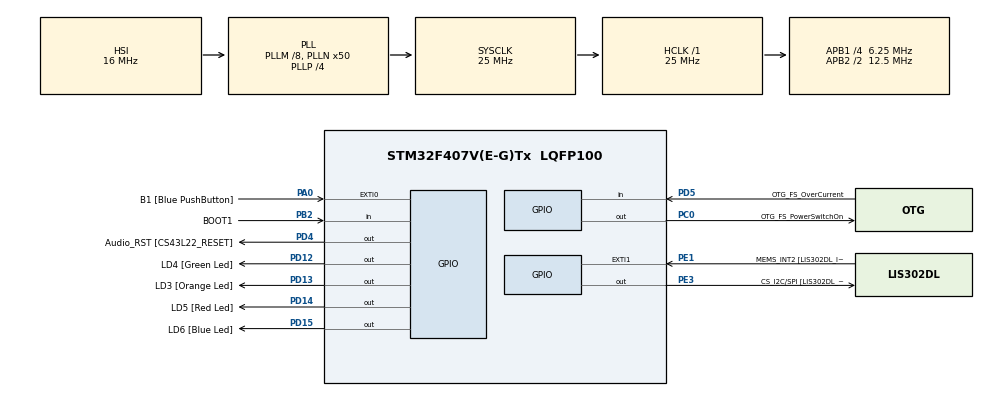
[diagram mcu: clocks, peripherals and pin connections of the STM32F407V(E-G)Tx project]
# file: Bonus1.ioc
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FREERTOS.BinarySemaphores01=semTaskA,Dynamic,NULL,Depleted;semTaskB,Dynamic,NULL,Depleted;semTaskC,Dynamic,NULL,Depleted;semTaskD,Dynamic,NULL,Depleted
FREERTOS.USE_IDLE_HOOK=1
FREERTOS.Tasks01=TaskA,32,128,StartTaskA,Default,NULL,Dynamic,NULL,NULL;TaskB,24,128,StartTaskB,Default,NULL,Dynamic,NULL,NULL;TaskC,16,128,StartTaskC,Default,NULL,Dynamic,NULL,NULL;TaskD,8,128,StartTaskD,Default,NULL,Dynamic,NULL,NULL;SchedTask,40,128,StartSchedTask,Default,NULL,Dynamic,NULL,NULL;startDefaultTas,8,128,startDefaultTask,Default,NULL,Dynamic,NULL,NULL
Mcu.Family=STM32F4
Mcu.Name=STM32F407V(E-G)Tx
Mcu.Package=LQFP100
NVIC.PriorityGroup=NVIC_PRIORITYGROUP_4
NVIC.TIM7_IRQn=true\:5\:0\:false\:false\:true\:true\:true\:true\:true
PA0-WKUP.GPIO_Label=B1 [Blue PushButton]
PA0-WKUP.Signal=GPXTI0
PA10.GPIO_Label=OTG_FS_ID
PA10.GPIO_Mode=GPIO_MODE_AF_PP
PA10.GPIO_PuPd=GPIO_NOPULL
PA10.GPIO_Speed=GPIO_SPEED_FREQ_LOW
PA10.Signal=USB_OTG_FS_ID
PA11.GPIO_Label=OTG_FS_DM
PA11.GPIO_Mode=GPIO_MODE_AF_PP
PA11.GPIO_PuPd=GPIO_NOPULL
PA11.GPIO_Speed=GPIO_SPEED_FREQ_LOW
PA11.Signal=USB_OTG_FS_DM
PA12.GPIO_Label=OTG_FS_DP
PA12.GPIO_Mode=GPIO_MODE_AF_PP
PA12.GPIO_PuPd=GPIO_NOPULL
PA12.GPIO_Speed=GPIO_SPEED_FREQ_LOW
PA12.Signal=USB_OTG_FS_DP
PA13.GPIO_Label=SWDIO
PA13.Signal=SYS_JTMS-SWDIO
PA14.GPIO_Label=SWCLK
PA14.Signal=SYS_JTCK-SWCLK
PA4.GPIO_Label=I2S3_WS [CS43L22_LRCK]
PA4.GPIO_Mode=GPIO_MODE_AF_PP
PA4.GPIO_PuPd=GPIO_NOPULL
PA4.GPIO_Speed=GPIO_SPEED_FREQ_LOW
PA4.Signal=I2S3_WS
PA5.GPIO_Label=SPI1_SCK [LIS302DL_SCL/SPC]
PA5.GPIO_Mode=GPIO_MODE_AF_PP
PA5.GPIO_PuPd=GPIO_NOPULL
PA5.GPIO_Speed=GPIO_SPEED_FREQ_LOW
PA5.Signal=SPI1_SCK
PA6.GPIO_Label=SPI1_MISO [LIS302DL_SDO]
PA6.GPIO_Mode=GPIO_MODE_AF_PP
PA6.GPIO_PuPd=GPIO_NOPULL
PA6.GPIO_Speed=GPIO_SPEED_FREQ_LOW
PA6.Signal=SPI1_MISO
PA7.GPIO_Label=SPI1_MOSI [LIS302DL_SDA/SDI/SDO]
PA7.GPIO_Mode=GPIO_MODE_AF_PP
PA7.GPIO_PuPd=GPIO_NOPULL
PA7.GPIO_Speed=GPIO_SPEED_FREQ_LOW
PA7.Signal=SPI1_MOSI
PA9.GPIO_Label=VBUS_FS
PA9.GPIO_Mode=GPIO_MODE_INPUT
PA9.GPIO_PuPd=GPIO_NOPULL
PA9.Signal=USB_OTG_FS_VBUS
PB10.GPIO_Label=CLK_IN [MP45DT02_CLK]
PB10.GPIO_Mode=GPIO_MODE_AF_PP
PB10.GPIO_PuPd=GPIO_NOPULL
PB10.GPIO_Speed=GPIO_SPEED_FREQ_LOW
PB10.Signal=I2S2_CK
PB2.GPIO_Label=BOOT1
PB2.GPIO_Mode=GPIO_MODE_INPUT
PB2.GPIO_PuPd=GPIO_NOPULL
PB2.Signal=GPIO_Input
PB3.GPIO_Label=SWO
PB3.Signal=SYS_JTDO-SWO
PB6.GPIO_Label=Audio_SCL [CS43L22_SCL]
PB6.GPIO_Mode=GPIO_MODE_AF_OD
PB6.GPIO_PuPd=GPIO_NOPULL
PB6.GPIO_Speed=GPIO_SPEED_FREQ_LOW
PB6.Signal=I2C1_SCL
PB9.GPIO_Label=Audio_SDA [CS43L22_SDA]
PB9.GPIO_Mode=GPIO_MODE_AF_OD
PB9.GPIO_PuPd=GPIO_NOPULL
PB9.GPIO_Speed=GPIO_SPEED_FREQ_LOW
PB9.Signal=I2C1_SDA
PC0.GPIO_Label=OTG_FS_PowerSwitchOn
PC0.GPIO_PuPd=GPIO_NOPULL
PC0.GPIO_Speed=GPIO_SPEED_FREQ_LOW
PC0.PinState=GPIO_PIN_SET
PC0.Signal=GPIO_Output
PC10.GPIO_Label=I2S3_SCK [CS43L22_SCLK]
PC10.GPIO_Mode=GPIO_MODE_AF_PP
PC10.GPIO_PuPd=GPIO_NOPULL
PC10.GPIO_Speed=GPIO_SPEED_FREQ_LOW
PC10.Signal=I2S3_CK
PC12.GPIO_Label=I2S3_SD [CS43L22_SDIN]
PC12.GPIO_Mode=GPIO_MODE_AF_PP
PC12.GPIO_PuPd=GPIO_NOPULL
PC12.GPIO_Speed=GPIO_SPEED_FREQ_LOW
PC12.Signal=I2S3_SD
PC14-OSC32_IN.GPIO_Label=PC14-OSC32_IN
PC14-OSC32_IN.Signal=RCC_OSC32_IN
PC15-OSC32_OUT.GPIO_Label=PC15-OSC32_OUT
PC15-OSC32_OUT.Signal=RCC_OSC32_OUT
PC3.GPIO_Label=PDM_OUT [MP45DT02_DOUT]
PC3.GPIO_Mode=GPIO_MODE_AF_PP
PC3.GPIO_PuPd=GPIO_NOPULL
PC3.GPIO_Speed=GPIO_SPEED_FREQ_LOW
PC3.Signal=I2S2_SD
PC7.GPIO_Label=I2S3_MCK [CS43L22_MCLK]
PC7.GPIO_Mode=GPIO_MODE_AF_PP
PC7.GPIO_PuPd=GPIO_NOPULL
PC7.GPIO_Speed=GPIO_SPEED_FREQ_LOW
PC7.Signal=I2S3_MCK
PD12.GPIO_Label=LD4 [Green Led]
PD12.GPIO_PuPd=GPIO_NOPULL
PD12.GPIO_Speed=GPIO_SPEED_FREQ_LOW
PD12.Signal=GPIO_Output
PD13.GPIO_Label=LD3 [Orange Led]
PD13.GPIO_PuPd=GPIO_NOPULL
PD13.GPIO_Speed=GPIO_SPEED_FREQ_LOW
PD13.Signal=GPIO_Output
PD14.GPIO_Label=LD5 [Red Led]
PD14.GPIO_PuPd=GPIO_NOPULL
PD14.GPIO_Speed=GPIO_SPEED_FREQ_LOW
PD14.Signal=GPIO_Output
PD15.GPIO_Label=LD6 [Blue Led]
PD15.GPIO_PuPd=GPIO_NOPULL
PD15.GPIO_Speed=GPIO_SPEED_FREQ_LOW
PD15.Signal=GPIO_Output
PD4.GPIO_Label=Audio_RST [CS43L22_RESET]
PD4.GPIO_PuPd=GPIO_NOPULL
PD4.GPIO_Speed=GPIO_SPEED_FREQ_LOW
PD4.Signal=GPIO_Output
PD5.GPIO_Label=OTG_FS_OverCurrent
PD5.GPIO_Mode=GPIO_MODE_INPUT
PD5.GPIO_PuPd=GPIO_NOPULL
PD5.Signal=GPIO_Input
PE1.GPIO_Label=MEMS_INT2 [LIS302DL_INT2]
PE1.GPIO_ModeDefaultEXTI=GPIO_MODE_EVT_RISING
PE1.GPIO_PuPd=GPIO_NOPULL
PE1.Signal=GPXTI1
PE3.GPIO_Label=CS_I2C/SPI [LIS302DL_CS_I2C/SPI]
PE3.GPIO_PuPd=GPIO_NOPULL
PE3.GPIO_Speed=GPIO_SPEED_FREQ_LOW
PE3.Signal=GPIO_Output
PH0-OSC_IN.GPIO_Label=PH0-OSC_IN
PH0-OSC_IN.Signal=RCC_OSC_IN
PH1-OSC_OUT.GPIO_Label=PH1-OSC_OUT
PH1-OSC_OUT.Signal=RCC_OSC_OUT
ProjectManager.HeapSize=0x200
ProjectManager.StackSize=0x400
ProjectManager.TargetToolchain=STM32CubeIDE
RCC.48MHZClocksFreq_Value=14285714.285714285
RCC.AHBFreq_Value=25000000
RCC.APB1CLKDivider=RCC_HCLK_DIV4
RCC.APB1Freq_Value=6250000
RCC.APB1TimFreq_Value=12500000
RCC.APB2CLKDivider=RCC_HCLK_DIV2
RCC.APB2Freq_Value=12500000
RCC.APB2TimFreq_Value=25000000
RCC.CortexFreq_Value=25000000
RCC.HCLKFreq_Value=25000000
RCC.HSE_VALUE=8000000
RCC.HSI_VALUE=16000000
RCC.LSE_VALUE=32768
RCC.PLLM=8
RCC.PLLN=50
RCC.PLLP=RCC_PLLP_DIV4
RCC.PLLQ=7
RCC.SYSCLKFreq_VALUE=25000000
RCC.SYSCLKSource=RCC_SYSCLKSOURCE_PLLCLK
RCC.VCOOutputFreq_Value=100000000
TIM7.Period=99
TIM7.Prescaler=124
VP_FREERTOS_VS_CMSIS_V2.Mode=CMSIS_V2
VP_TIM7_VS_ClockSourceINT.Mode=Enable_Timer
board=STM32F407G-DISC1

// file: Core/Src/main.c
/* USER CODE BEGIN Header */
/**
  ******************************************************************************
  * @file           : main.c
  * @brief          : Main program body
  ******************************************************************************
  * @attention
  *
  * Copyright (c) 2026 STMicroelectronics.
  * All rights reserved.
  *
  * This software is licensed under terms that can be found in the LICENSE file
  * in the root directory of this software component.
  * If no LICENSE file comes with this software, it is provided AS-IS.
  *
  ******************************************************************************
  */
/* USER CODE END Header */
#include "main.h"
#include "cmsis_os.h"

/* USER CODE BEGIN PTD */
typedef struct
{
  osThreadId_t handle;
  osSemaphoreId_t sem;
  uint32_t periodMs;
  uint32_t relativeDeadlineUs;
  uint32_t execTimeUs;
  uint16_t ledPin;

  volatile uint32_t releaseQueue[4];
  volatile uint32_t deadlineQueue[4];
  volatile uint8_t head;
  volatile uint8_t tail;
  volatile uint8_t jobs;
  volatile uint8_t active;

  volatile uint32_t activeReleaseCycle;
  volatile uint32_t activeDeadlineUs;
  volatile uint32_t nextReleaseMs;
  volatile uint32_t queueOverflows;
  osPriority_t currentPriority;

  volatile uint32_t *deadlineMiss;
  volatile uint32_t *responseUs;
  volatile uint32_t *responseMaxUs;
} EdfTask;

/* USER CODE END PTD */

/* USER CODE BEGIN PD */
#define TaskA_PERIOD_MS      3U
#define TaskA_DEADLINE_MS    3U
#define TaskA_EXEC_TIME_US   1000U

#define TaskB_PERIOD_MS      5U
#define TaskB_DEADLINE_MS    4U
#define TaskB_EXEC_TIME_US   2000U

#define TaskC_PERIOD_MS      8U
#define TaskC_DEADLINE_MS    8U
#define TaskC_EXEC_TIME_US   1000U

#define TaskD_PERIOD_MS      14U
#define TaskD_DEADLINE_MS    14U
#define TaskD_EXEC_TIME_US   1000U

#define CPU_LOAD_WINDOW_US   470000U
#define CPU_LOAD_STEP_US     100U

#define EDF_TASK_COUNT       4U
#define EDF_QUEUE_LEN        4U
#define EDF_TASK_A           0U
#define EDF_TASK_B           1U
#define EDF_TASK_C           2U
#define EDF_TASK_D           3U

/* USER CODE END PD */

TIM_HandleTypeDef htim7;

/* Definitions for TaskA */
osThreadId_t TaskAHandle;
const osThreadAttr_t TaskA_attributes = {
  .name = "TaskA",
  .stack_size = 128 * 4,
  .priority = (osPriority_t) osPriorityAboveNormal,
};
/* Definitions for TaskB */
osThreadId_t TaskBHandle;
const osThreadAttr_t TaskB_attributes = {
  .name = "TaskB",
  .stack_size = 128 * 4,
  .priority = (osPriority_t) osPriorityNormal,
};
/* Definitions for TaskC */
osThreadId_t TaskCHandle;
const osThreadAttr_t TaskC_attributes = {
  .name = "TaskC",
  .stack_size = 128 * 4,
  .priority = (osPriority_t) osPriorityBelowNormal,
};
/* Definitions for TaskD */
osThreadId_t TaskDHandle;
const osThreadAttr_t TaskD_attributes = {
  .name = "TaskD",
  .stack_size = 128 * 4,
  .priority = (osPriority_t) osPriorityLow,
};
/* Definitions for SchedTask */
osThreadId_t SchedTaskHandle;
const osThreadAttr_t SchedTask_attributes = {
  .name = "SchedTask",
  .stack_size = 128 * 4,
  .priority = (osPriority_t) osPriorityHigh,
};
/* Definitions for startDefaultTas */
osThreadId_t startDefaultTasHandle;
const osThreadAttr_t startDefaultTas_attributes = {
  .name = "startDefaultTas",
  .stack_size = 128 * 4,
  .priority = (osPriority_t) osPriorityLow,
};
/* Definitions for semTaskA */
osSemaphoreId_t semTaskAHandle;
const osSemaphoreAttr_t semTaskA_attributes = {
  .name = "semTaskA"
};
/* Definitions for semTaskB */
osSemaphoreId_t semTaskBHandle;
const osSemaphoreAttr_t semTaskB_attributes = {
  .name = "semTaskB"
};
/* Definitions for semTaskC */
osSemaphoreId_t semTaskCHandle;
const osSemaphoreAttr_t semTaskC_attributes = {
  .name = "semTaskC"
};
/* Definitions for semTaskD */
osSemaphoreId_t semTaskDHandle;
const osSemaphoreAttr_t semTaskD_attributes = {
  .name = "semTaskD"
};

void SystemClock_Config(void);
static void MX_GPIO_Init(void);
static void MX_TIM7_Init(void);
void StartTaskA(void *argument);
void StartTaskB(void *argument);
void StartTaskC(void *argument);
void StartTaskD(void *argument);
void StartSchedTask(void *argument);
void startDefaultTask(void *argument);

/* USER CODE BEGIN PFP */
static void DWT_Init(void);
void busy_delay(uint32_t us);
static uint32_t CyclesToUs(uint32_t cycles);
static uint8_t DeadlineMissed(uint32_t releaseCycle, uint32_t deadlineUs, volatile uint32_t *lastUs, volatile uint32_t *maxUs);
static void EdfInit(void);
static void EdfSetTask(uint32_t id, osThreadId_t handle, osSemaphoreId_t sem, uint32_t periodMs, uint32_t deadlineMs, uint32_t execTimeUs, uint16_t ledPin, volatile uint32_t *deadlineMiss, volatile uint32_t *responseUs, volatile uint32_t *responseMaxUs);
static void EdfActivate(uint32_t id, uint32_t nowMs);
static uint8_t EdfPopJob(uint32_t id);
static uint8_t EdfTaskReady(uint32_t id);
static uint32_t EdfTaskDeadline(uint32_t id);
static void EdfSetPriority(uint32_t id, osPriority_t priority);
static void EdfUpdatePriorities(void);
static void EdfWaitForJob(uint32_t id);
static void EdfFinishJob(uint32_t id);
static void EdfRunJob(uint32_t id);
static void ActivateTaskA(void);
static void ActivateTaskB(void);
static void ActivateTaskC(void);
static void ActivateTaskD(void);
static void CheckAndActivateTasks_1MS(void);

/* USER CODE END PFP */

/* USER CODE BEGIN 0 */
volatile uint32_t deadlineMissA = 0;
volatile uint32_t deadlineMissB = 0;
volatile uint32_t deadlineMissC = 0;
volatile uint32_t deadlineMissD = 0;

volatile uint32_t responseTaskAUs = 0;
volatile uint32_t responseTaskBUs = 0;
volatile uint32_t responseTaskCUs = 0;
volatile uint32_t responseTaskDUs = 0;
volatile uint32_t responseTaskAMaxUs = 0;
volatile uint32_t responseTaskBMaxUs = 0;
volatile uint32_t responseTaskCMaxUs = 0;
volatile uint32_t responseTaskDMaxUs = 0;

volatile uint32_t cpuLoadPermille = 0;
volatile uint32_t cpuIdlePermille = 0;
volatile uint32_t cpuLoadMeasureUs = 0;
volatile uint32_t cpuLoadIdleUs = 0;

static volatile uint32_t releaseTaskA = 0;
static volatile uint32_t releaseTaskB = 0;
static volatile uint32_t releaseTaskC = 0;
static volatile uint32_t releaseTaskD = 0;

static EdfTask edfTasks[EDF_TASK_COUNT];
volatile uint32_t edfReadyMask = 0;
volatile uint32_t edfCurrentOrder[EDF_TASK_COUNT] = {0};
/* USER CODE END 0 */

int main(void)
{

  /* MCU Configuration--------------------------------------------------------*/

  /* Reset of all peripherals, Initializes the Flash interface and the Systick. */
  HAL_Init();

  /* Configure the system clock */
  SystemClock_Config();

  /* Initialize all configured peripherals */
  MX_GPIO_Init();
  MX_TIM7_Init();
  /* USER CODE BEGIN 2 */
  DWT_Init();

  /* USER CODE END 2 */

  /* Init scheduler */
  osKernelInitialize();

  /* Create the semaphores(s) */
  /* creation of semTaskA */
  semTaskAHandle = osSemaphoreNew(1, 0, &semTaskA_attributes);

  /* creation of semTaskB */
  semTaskBHandle = osSemaphoreNew(1, 0, &semTaskB_attributes);

  /* creation of semTaskC */
  semTaskCHandle = osSemaphoreNew(1, 0, &semTaskC_attributes);

  /* creation of semTaskD */
  semTaskDHandle = osSemaphoreNew(1, 0, &semTaskD_attributes);

  /* Create the thread(s) */
  /* creation of TaskA */
  TaskAHandle = osThreadNew(StartTaskA, NULL, &TaskA_attributes);

  /* creation of TaskB */
  TaskBHandle = osThreadNew(StartTaskB, NULL, &TaskB_attributes);

  /* creation of TaskC */
  TaskCHandle = osThreadNew(StartTaskC, NULL, &TaskC_attributes);

  /* creation of TaskD */
  TaskDHandle = osThreadNew(StartTaskD, NULL, &TaskD_attributes);

  /* creation of SchedTask */
  SchedTaskHandle = osThreadNew(StartSchedTask, NULL, &SchedTask_attributes);

  /* creation of startDefaultTas */
  startDefaultTasHandle = osThreadNew(startDefaultTask, NULL, &startDefaultTas_attributes);

  /* USER CODE BEGIN RTOS_THREADS */
  /* add threads, ... */
  EdfInit();
  /* USER CODE END RTOS_THREADS */

  /* Start scheduler */
  osKernelStart();

  /* We should never get here as control is now taken by the scheduler */

  /* Infinite loop */
  while (1)
  {

  }
}

void SystemClock_Config(void)
{
  RCC_OscInitTypeDef RCC_OscInitStruct = {0};
  RCC_ClkInitTypeDef RCC_ClkInitStruct = {0};

  /** Configure the main internal regulator output voltage
  */
  __HAL_RCC_PWR_CLK_ENABLE();
  __HAL_PWR_VOLTAGESCALING_CONFIG(PWR_REGULATOR_VOLTAGE_SCALE1);

  /** Initializes the RCC Oscillators according to the specified parameters
  * in the RCC_OscInitTypeDef structure.
  */
  RCC_OscInitStruct.OscillatorType = RCC_OSCILLATORTYPE_HSI;
  RCC_OscInitStruct.HSIState = RCC_HSI_ON;
  RCC_OscInitStruct.HSICalibrationValue = RCC_HSICALIBRATION_DEFAULT;
  RCC_OscInitStruct.PLL.PLLState = RCC_PLL_ON;
  RCC_OscInitStruct.PLL.PLLSource = RCC_PLLSOURCE_HSI;
  RCC_OscInitStruct.PLL.PLLM = 8;
  RCC_OscInitStruct.PLL.PLLN = 50;
  RCC_OscInitStruct.PLL.PLLP = RCC_PLLP_DIV4;
  RCC_OscInitStruct.PLL.PLLQ = 7;
  if (HAL_RCC_OscConfig(&RCC_OscInitStruct) != HAL_OK)
  {
    Error_Handler();
  }

  /** Initializes the CPU, AHB and APB buses clocks
  */
  RCC_ClkInitStruct.ClockType = RCC_CLOCKTYPE_HCLK|RCC_CLOCKTYPE_SYSCLK
                              |RCC_CLOCKTYPE_PCLK1|RCC_CLOCKTYPE_PCLK2;
  RCC_ClkInitStruct.SYSCLKSource = RCC_SYSCLKSOURCE_PLLCLK;
  RCC_ClkInitStruct.AHBCLKDivider = RCC_SYSCLK_DIV1;
  RCC_ClkInitStruct.APB1CLKDivider = RCC_HCLK_DIV4;
  RCC_ClkInitStruct.APB2CLKDivider = RCC_HCLK_DIV2;

  if (HAL_RCC_ClockConfig(&RCC_ClkInitStruct, FLASH_LATENCY_0) != HAL_OK)
  {
    Error_Handler();
  }
}

static void MX_TIM7_Init(void)
{

  TIM_MasterConfigTypeDef sMasterConfig = {0};

  htim7.Instance = TIM7;
  htim7.Init.Prescaler = 124;
  htim7.Init.CounterMode = TIM_COUNTERMODE_UP;
  htim7.Init.Period = 99;
  htim7.Init.AutoReloadPreload = TIM_AUTORELOAD_PRELOAD_DISABLE;
  if (HAL_TIM_Base_Init(&htim7) != HAL_OK)
  {
    Error_Handler();
  }
  sMasterConfig.MasterOutputTrigger = TIM_TRGO_RESET;
  sMasterConfig.MasterSlaveMode = TIM_MASTERSLAVEMODE_DISABLE;
  if (HAL_TIMEx_MasterConfigSynchronization(&htim7, &sMasterConfig) != HAL_OK)
  {
    Error_Handler();
  }

}

static void MX_GPIO_Init(void)
{
  GPIO_InitTypeDef GPIO_InitStruct = {0};

  /* GPIO Ports Clock Enable */
  __HAL_RCC_GPIOE_CLK_ENABLE();
  __HAL_RCC_GPIOC_CLK_ENABLE();
  __HAL_RCC_GPIOH_CLK_ENABLE();
  __HAL_RCC_GPIOA_CLK_ENABLE();
  __HAL_RCC_GPIOB_CLK_ENABLE();
  __HAL_RCC_GPIOD_CLK_ENABLE();

  /*Configure GPIO pin Output Level */
  HAL_GPIO_WritePin(CS_I2C_SPI_GPIO_Port, CS_I2C_SPI_Pin, GPIO_PIN_RESET);

  /*Configure GPIO pin Output Level */
  HAL_GPIO_WritePin(OTG_FS_PowerSwitchOn_GPIO_Port, OTG_FS_PowerSwitchOn_Pin, GPIO_PIN_SET);

  /*Configure GPIO pin Output Level */
  HAL_GPIO_WritePin(GPIOD, LD4_Pin|LD3_Pin|LD5_Pin|LD6_Pin
                          |Audio_RST_Pin, GPIO_PIN_RESET);

  /*Configure GPIO pin : CS_I2C_SPI_Pin */
  GPIO_InitStruct.Pin = CS_I2C_SPI_Pin;
  GPIO_InitStruct.Mode = GPIO_MODE_OUTPUT_PP;
  GPIO_InitStruct.Pull = GPIO_NOPULL;
  GPIO_InitStruct.Speed = GPIO_SPEED_FREQ_LOW;
  HAL_GPIO_Init(CS_I2C_SPI_GPIO_Port, &GPIO_InitStruct);

  /*Configure GPIO pin : OTG_FS_PowerSwitchOn_Pin */
  GPIO_InitStruct.Pin = OTG_FS_PowerSwitchOn_Pin;
  GPIO_InitStruct.Mode = GPIO_MODE_OUTPUT_PP;
  GPIO_InitStruct.Pull = GPIO_NOPULL;
  GPIO_InitStruct.Speed = GPIO_SPEED_FREQ_LOW;
  HAL_GPIO_Init(OTG_FS_PowerSwitchOn_GPIO_Port, &GPIO_InitStruct);

  /*Configure GPIO pin : PDM_OUT_Pin */
  GPIO_InitStruct.Pin = PDM_OUT_Pin;
  GPIO_InitStruct.Mode = GPIO_MODE_AF_PP;
  GPIO_InitStruct.Pull = GPIO_NOPULL;
  GPIO_InitStruct.Speed = GPIO_SPEED_FREQ_LOW;
  GPIO_InitStruct.Alternate = GPIO_AF5_SPI2;
  HAL_GPIO_Init(PDM_OUT_GPIO_Port, &GPIO_InitStruct);

  /*Configure GPIO pin : B1_Pin */
  GPIO_InitStruct.Pin = B1_Pin;
  GPIO_InitStruct.Mode = GPIO_MODE_IT_RISING;
  GPIO_InitStruct.Pull = GPIO_NOPULL;
  HAL_GPIO_Init(B1_GPIO_Port, &GPIO_InitStruct);

  /*Configure GPIO pin : I2S3_WS_Pin */
  GPIO_InitStruct.Pin = I2S3_WS_Pin;
  GPIO_InitStruct.Mode = GPIO_MODE_AF_PP;
  GPIO_InitStruct.Pull = GPIO_NOPULL;
  GPIO_InitStruct.Speed = GPIO_SPEED_FREQ_LOW;
  GPIO_InitStruct.Alternate = GPIO_AF6_SPI3;
  HAL_GPIO_Init(I2S3_WS_GPIO_Port, &GPIO_InitStruct);

  /*Configure GPIO pins : SPI1_SCK_Pin SPI1_MISO_Pin SPI1_MOSI_Pin */
  GPIO_InitStruct.Pin = SPI1_SCK_Pin|SPI1_MISO_Pin|SPI1_MOSI_Pin;
  GPIO_InitStruct.Mode = GPIO_MODE_AF_PP;
  GPIO_InitStruct.Pull = GPIO_NOPULL;
  GPIO_InitStruct.Speed = GPIO_SPEED_FREQ_LOW;
  GPIO_InitStruct.Alternate = GPIO_AF5_SPI1;
  HAL_GPIO_Init(GPIOA, &GPIO_InitStruct);

  /*Configure GPIO pin : BOOT1_Pin */
  GPIO_InitStruct.Pin = BOOT1_Pin;
  GPIO_InitStruct.Mode = GPIO_MODE_INPUT;
  GPIO_InitStruct.Pull = GPIO_NOPULL;
  HAL_GPIO_Init(BOOT1_GPIO_Port, &GPIO_InitStruct);

  /*Configure GPIO pin : CLK_IN_Pin */
  GPIO_InitStruct.Pin = CLK_IN_Pin;
  GPIO_InitStruct.Mode = GPIO_MODE_AF_PP;
  GPIO_InitStruct.Pull = GPIO_NOPULL;
  GPIO_InitStruct.Speed = GPIO_SPEED_FREQ_LOW;
  GPIO_InitStruct.Alternate = GPIO_AF5_SPI2;
  HAL_GPIO_Init(CLK_IN_GPIO_Port, &GPIO_InitStruct);

  /*Configure GPIO pins : LD4_Pin LD3_Pin LD5_Pin LD6_Pin
                           Audio_RST_Pin */
  GPIO_InitStruct.Pin = LD4_Pin|LD3_Pin|LD5_Pin|LD6_Pin
                          |Audio_RST_Pin;
  GPIO_InitStruct.Mode = GPIO_MODE_OUTPUT_PP;
  GPIO_InitStruct.Pull = GPIO_NOPULL;
  GPIO_InitStruct.Speed = GPIO_SPEED_FREQ_LOW;
  HAL_GPIO_Init(GPIOD, &GPIO_InitStruct);

  /*Configure GPIO pins : I2S3_MCK_Pin I2S3_SCK_Pin I2S3_SD_Pin */
  GPIO_InitStruct.Pin = I2S3_MCK_Pin|I2S3_SCK_Pin|I2S3_SD_Pin;
  GPIO_InitStruct.Mode = GPIO_MODE_AF_PP;
  GPIO_InitStruct.Pull = GPIO_NOPULL;
  GPIO_InitStruct.Speed = GPIO_SPEED_FREQ_LOW;
  GPIO_InitStruct.Alternate = GPIO_AF6_SPI3;
  HAL_GPIO_Init(GPIOC, &GPIO_InitStruct);

  /*Configure GPIO pin : VBUS_FS_Pin */
  GPIO_InitStruct.Pin = VBUS_FS_Pin;
  GPIO_InitStruct.Mode = GPIO_MODE_INPUT;
  GPIO_InitStruct.Pull = GPIO_NOPULL;
  HAL_GPIO_Init(VBUS_FS_GPIO_Port, &GPIO_InitStruct);

  /*Configure GPIO pins : OTG_FS_ID_Pin OTG_FS_DM_Pin OTG_FS_DP_Pin */
  GPIO_InitStruct.Pin = OTG_FS_ID_Pin|OTG_FS_DM_Pin|OTG_FS_DP_Pin;
  GPIO_InitStruct.Mode = GPIO_MODE_AF_PP;
  GPIO_InitStruct.Pull = GPIO_NOPULL;
  GPIO_InitStruct.Speed = GPIO_SPEED_FREQ_LOW;
  GPIO_InitStruct.Alternate = GPIO_AF10_OTG_FS;
  HAL_GPIO_Init(GPIOA, &GPIO_InitStruct);

  /*Configure GPIO pin : OTG_FS_OverCurrent_Pin */
  GPIO_InitStruct.Pin = OTG_FS_OverCurrent_Pin;
  GPIO_InitStruct.Mode = GPIO_MODE_INPUT;
  GPIO_InitStruct.Pull = GPIO_NOPULL;
  HAL_GPIO_Init(OTG_FS_OverCurrent_GPIO_Port, &GPIO_InitStruct);

  /*Configure GPIO pins : Audio_SCL_Pin Audio_SDA_Pin */
  GPIO_InitStruct.Pin = Audio_SCL_Pin|Audio_SDA_Pin;
  GPIO_InitStruct.Mode = GPIO_MODE_AF_OD;
  GPIO_InitStruct.Pull = GPIO_NOPULL;
  GPIO_InitStruct.Speed = GPIO_SPEED_FREQ_LOW;
  GPIO_InitStruct.Alternate = GPIO_AF4_I2C1;
  HAL_GPIO_Init(GPIOB, &GPIO_InitStruct);

  /*Configure GPIO pin : MEMS_INT2_Pin */
  GPIO_InitStruct.Pin = MEMS_INT2_Pin;
  GPIO_InitStruct.Mode = GPIO_MODE_EVT_RISING;
  GPIO_InitStruct.Pull = GPIO_NOPULL;
  HAL_GPIO_Init(MEMS_INT2_GPIO_Port, &GPIO_InitStruct);

}

/* USER CODE BEGIN 4 */
static void DWT_Init(void)
{
  CoreDebug->DEMCR |= CoreDebug_DEMCR_TRCENA_Msk;
  DWT->CYCCNT = 0U;
  DWT->CTRL |= DWT_CTRL_CYCCNTENA_Msk;
}

void busy_delay(uint32_t us)
{
  const uint32_t cyclesPerUs = SystemCoreClock / 1000000U;
  const uint32_t delayCycles = us * cyclesPerUs;
  const uint32_t startCycles = DWT->CYCCNT;

  while ((uint32_t)(DWT->CYCCNT - startCycles) < delayCycles)
  {
    __NOP();
  }
}

static uint32_t CyclesToUs(uint32_t cycles)
{
  return cycles / (SystemCoreClock / 1000000U);
}

static uint8_t DeadlineMissed(uint32_t releaseCycle, uint32_t deadlineUs, volatile uint32_t *lastUs, volatile uint32_t *maxUs)
{
  uint32_t responseUs = CyclesToUs(DWT->CYCCNT - releaseCycle);
  *lastUs = responseUs;

  if (responseUs > *maxUs)
  {
    *maxUs = responseUs;
  }

  return (responseUs > deadlineUs) ? 1U : 0U;
}

static void EdfInit(void)
{
  EdfSetTask(EDF_TASK_A, TaskAHandle, semTaskAHandle, TaskA_PERIOD_MS, TaskA_DEADLINE_MS, TaskA_EXEC_TIME_US, GPIO_PIN_12, &deadlineMissA, &responseTaskAUs, &responseTaskAMaxUs);
  EdfSetTask(EDF_TASK_B, TaskBHandle, semTaskBHandle, TaskB_PERIOD_MS, TaskB_DEADLINE_MS, TaskB_EXEC_TIME_US, GPIO_PIN_13, &deadlineMissB, &responseTaskBUs, &responseTaskBMaxUs);
  EdfSetTask(EDF_TASK_C, TaskCHandle, semTaskCHandle, TaskC_PERIOD_MS, TaskC_DEADLINE_MS, TaskC_EXEC_TIME_US, GPIO_PIN_14, &deadlineMissC, &responseTaskCUs, &responseTaskCMaxUs);
  EdfSetTask(EDF_TASK_D, TaskDHandle, semTaskDHandle, TaskD_PERIOD_MS, TaskD_DEADLINE_MS, TaskD_EXEC_TIME_US, GPIO_PIN_15, &deadlineMissD, &responseTaskDUs, &responseTaskDMaxUs);
}

static void EdfSetTask(uint32_t id, osThreadId_t handle, osSemaphoreId_t sem, uint32_t periodMs, uint32_t deadlineMs, uint32_t execTimeUs, uint16_t ledPin, volatile uint32_t *deadlineMiss, volatile uint32_t *responseUs, volatile uint32_t *responseMaxUs)
{
  edfTasks[id].handle = handle;
  edfTasks[id].sem = sem;
  edfTasks[id].periodMs = periodMs;
  edfTasks[id].relativeDeadlineUs = deadlineMs * 1000U;
  edfTasks[id].execTimeUs = execTimeUs;
  edfTasks[id].ledPin = ledPin;
  edfTasks[id].head = 0U;
  edfTasks[id].tail = 0U;
  edfTasks[id].jobs = 0U;
  edfTasks[id].active = 0U;
  edfTasks[id].activeReleaseCycle = 0U;
  edfTasks[id].activeDeadlineUs = 0U;
  edfTasks[id].nextReleaseMs = periodMs;
  edfTasks[id].queueOverflows = 0U;
  edfTasks[id].currentPriority = osPriorityNone;
  edfTasks[id].deadlineMiss = deadlineMiss;
  edfTasks[id].responseUs = responseUs;
  edfTasks[id].responseMaxUs = responseMaxUs;
}

static void EdfActivate(uint32_t id, uint32_t nowMs)
{
  EdfTask *task = &edfTasks[id];
  uint32_t primask = __get_PRIMASK();
  uint32_t releaseCycle = DWT->CYCCNT;
  uint32_t absoluteDeadlineUs = CyclesToUs(releaseCycle) + task->relativeDeadlineUs;

  __disable_irq();
  task->nextReleaseMs = nowMs + task->periodMs;

  if (task->jobs < EDF_QUEUE_LEN)
  {
    task->releaseQueue[task->tail] = releaseCycle;
    task->deadlineQueue[task->tail] = absoluteDeadlineUs;
    task->tail = (task->tail + 1U) % EDF_QUEUE_LEN;
    task->jobs++;
  }
  else
  {
    task->queueOverflows++;
    (*task->deadlineMiss)++;
  }

  if (primask == 0U)
  {
    __enable_irq();
  }

  (void)osSemaphoreRelease(task->sem);
}

static uint8_t EdfPopJob(uint32_t id)
{
  EdfTask *task = &edfTasks[id];
  uint32_t primask = __get_PRIMASK();
  uint8_t jobFound = 0U;

  __disable_irq();
  if (task->jobs > 0U)
  {
    task->activeReleaseCycle = task->releaseQueue[task->head];
    task->activeDeadlineUs = task->deadlineQueue[task->head];
    task->head = (task->head + 1U) % EDF_QUEUE_LEN;
    task->jobs--;
    task->active = 1U;
    jobFound = 1U;
  }

  if (primask == 0U)
  {
    __enable_irq();
  }

  if (jobFound != 0U)
  {
    (void)osSemaphoreAcquire(task->sem, 0U);
  }

  return jobFound;
}

static uint8_t EdfTaskReady(uint32_t id)
{
  return ((edfTasks[id].active != 0U) || (edfTasks[id].jobs > 0U)) ? 1U : 0U;
}

static uint32_t EdfTaskDeadline(uint32_t id)
{
  EdfTask *task = &edfTasks[id];

  if (task->active != 0U)
  {
    return task->activeDeadlineUs;
  }

  if (task->jobs > 0U)
  {
    return task->deadlineQueue[task->head];
  }

  return 0xFFFFFFFFU;
}

static void EdfSetPriority(uint32_t id, osPriority_t priority)
{
  if (edfTasks[id].currentPriority != priority)
  {
    if (osThreadSetPriority(edfTasks[id].handle, priority) == osOK)
    {
      edfTasks[id].currentPriority = priority;
    }
  }
}

static void EdfUpdatePriorities(void)
{
  const osPriority_t prio[EDF_TASK_COUNT] = { osPriorityAboveNormal, osPriorityNormal, osPriorityBelowNormal, osPriorityLow1 };
  uint8_t used[EDF_TASK_COUNT] = {0};
  uint32_t rank;
  uint32_t i;

  edfReadyMask = 0U;
  for (i = 0U; i < EDF_TASK_COUNT; i++)
  {
    edfCurrentOrder[i] = 0xFFFFFFFFU;
    if (EdfTaskReady(i))
    {
      edfReadyMask |= (1U << i);
    }
    else
    {
      EdfSetPriority(i, osPriorityLow);
    }
  }

  for (rank = 0U; rank < EDF_TASK_COUNT; rank++)
  {
    uint32_t bestTask = 0xFFFFFFFFU;
    uint32_t bestDeadline = 0xFFFFFFFFU;

    for (i = 0U; i < EDF_TASK_COUNT; i++)
    {
      uint32_t deadline = EdfTaskDeadline(i);

      if ((used[i] == 0U) && EdfTaskReady(i) && ((bestTask == 0xFFFFFFFFU) || ((int32_t)(deadline - bestDeadline) < 0)))
      {
        bestTask = i;
        bestDeadline = deadline;
      }
    }

    if (bestTask != 0xFFFFFFFFU)
    {
      used[bestTask] = 1U;
      edfCurrentOrder[rank] = bestTask;
      EdfSetPriority(bestTask, prio[rank]);
    }
  }
}

static void EdfWaitForJob(uint32_t id)
{
  while (EdfPopJob(id) == 0U)
  {
    (void)osSemaphoreAcquire(edfTasks[id].sem, osWaitForever);
  }
}

static void EdfFinishJob(uint32_t id)
{
  EdfTask *task = &edfTasks[id];

  if (DeadlineMissed(task->activeReleaseCycle, task->relativeDeadlineUs, task->responseUs, task->responseMaxUs))
  {
    (*task->deadlineMiss)++;
  }

  task->active = 0U;
  EdfUpdatePriorities();
}

static void EdfRunJob(uint32_t id)
{
  EdfTask *task = &edfTasks[id];

  EdfWaitForJob(id);
  HAL_GPIO_WritePin(GPIOD, task->ledPin, GPIO_PIN_SET);
  busy_delay(task->execTimeUs);
  HAL_GPIO_WritePin(GPIOD, task->ledPin, GPIO_PIN_RESET);
  EdfFinishJob(id);
}

static void ActivateTaskA(void)
{
  releaseTaskA = DWT->CYCCNT;
  EdfActivate(EDF_TASK_A, osKernelGetTickCount());
}

static void ActivateTaskB(void)
{
  releaseTaskB = DWT->CYCCNT;
  EdfActivate(EDF_TASK_B, osKernelGetTickCount());
}

static void ActivateTaskC(void)
{
  releaseTaskC = DWT->CYCCNT;
  EdfActivate(EDF_TASK_C, osKernelGetTickCount());
}

static void ActivateTaskD(void)
{
  releaseTaskD = DWT->CYCCNT;
  EdfActivate(EDF_TASK_D, osKernelGetTickCount());
}

static void CheckAndActivateTasks_1MS(void)
{
  static uint32_t ms_cnt = 0U;
  uint8_t activated = 0U;

  if ((ms_cnt % TaskA_PERIOD_MS) == 0U) { ActivateTaskA(); activated = 1U; }
  if ((ms_cnt % TaskB_PERIOD_MS) == 0U) { ActivateTaskB(); activated = 1U; }
  if ((ms_cnt % TaskC_PERIOD_MS) == 0U) { ActivateTaskC(); activated = 1U; }
  if ((ms_cnt % TaskD_PERIOD_MS) == 0U) { ActivateTaskD(); activated = 1U; }

  if (activated != 0U)
  {
    EdfUpdatePriorities();
  }

  ms_cnt++;
}
/* USER CODE END 4 */

void StartTaskA(void *argument)
{
  /* USER CODE BEGIN 5 */
  (void)argument;

  for (;;)
  {
    EdfRunJob(EDF_TASK_A);
  }
  /* USER CODE END 5 */
}

void StartTaskB(void *argument)
{
  /* USER CODE BEGIN StartTaskB */
  (void)argument;

  for (;;)
  {
    EdfRunJob(EDF_TASK_B);
  }
  /* USER CODE END StartTaskB */
}

void StartTaskC(void *argument)
{
  /* USER CODE BEGIN StartTaskC */
  (void)argument;

  for (;;)
  {
    EdfRunJob(EDF_TASK_C);
  }
  /* USER CODE END StartTaskC */
}

void StartTaskD(void *argument)
{
  /* USER CODE BEGIN StartTaskD */
  (void)argument;

  for (;;)
  {
    EdfRunJob(EDF_TASK_D);
  }
  /* USER CODE END StartTaskD */
}

void StartSchedTask(void *argument)
{
  /* USER CODE BEGIN StartSchedTask */
  (void)argument;

  uint32_t next1MS = osKernelGetTickCount();

  for (;;)
  {
    next1MS += 1U;
    CheckAndActivateTasks_1MS();
    osDelayUntil(next1MS);
  }
  /* USER CODE END StartSchedTask */
}

void startDefaultTask(void *argument)
{
  /* USER CODE BEGIN startDefaultTask */
  (void)argument;

  /* Messung erfolgt im FreeRTOS-Idle-Hook (vApplicationIdleHook),
     diese Task darf NICHT mit den EDF-Tasks um CPU konkurrieren. */
  for(;;)
  {
    osDelay(osWaitForever);
  }
  /* USER CODE END startDefaultTask */
}

/* CPU-Lastmessung im echten FreeRTOS-Idle-Task.
   Idle hat FreeRTOS-Prio 0, liegt also unter allen CMSIS-Tasks.
   Damit ist die hier gemessene Zeit echte freie CPU-Zeit. */
void vApplicationIdleHook(void)
{
  static uint8_t  initialized   = 0U;
  static uint32_t startCycles   = 0U;
  static uint32_t idleTimeUs    = 0U;
  const  uint32_t cyclesPerUs   = SystemCoreClock / 1000000U;

  if (initialized == 0U)
  {
    startCycles = DWT->CYCCNT;
    idleTimeUs  = 0U;
    initialized = 1U;
  }

  busy_delay(CPU_LOAD_STEP_US);
  idleTimeUs += CPU_LOAD_STEP_US;

  uint32_t measureTimeUs = (DWT->CYCCNT - startCycles) / cyclesPerUs;

  if (measureTimeUs >= CPU_LOAD_WINDOW_US)
  {
    uint32_t idlePermille;

    cpuLoadMeasureUs = measureTimeUs;
    cpuLoadIdleUs    = idleTimeUs;

    idlePermille = (idleTimeUs * 1000U) / measureTimeUs;
    if (idlePermille > 1000U)
    {
      idlePermille = 1000U;
    }

    cpuIdlePermille = idlePermille;
    cpuLoadPermille = 1000U - idlePermille;

    idleTimeUs  = 0U;
    startCycles = DWT->CYCCNT;
  }
}

void Error_Handler(void)
{
  __disable_irq();
  while (1)
  {
  }
}

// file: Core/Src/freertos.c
/* USER CODE BEGIN Header */
/**
  ******************************************************************************
  * File Name          : freertos.c
  * Description        : Code for freertos applications
  ******************************************************************************
  * @attention
  *
  * Copyright (c) 2026 STMicroelectronics.
  * All rights reserved.
  *
  * This software is licensed under terms that can be found in the LICENSE file
  * in the root directory of this software component.
  * If no LICENSE file comes with this software, it is provided AS-IS.
  *
  ******************************************************************************
  */
/* USER CODE END Header */

#include "FreeRTOS.h"
#include "task.h"
#include "main.h"

/* USER CODE BEGIN PTD */
typedef struct
{
  uint32_t timeUs;
  uint32_t task;
  uint8_t event;
} TraceEntry;

/* USER CODE END PTD */

/* USER CODE BEGIN PD */
#define TRACE_BUFFER_SIZE    128U

/* USER CODE END PD */

/* USER CODE BEGIN Variables */
volatile TraceEntry traceBuffer[TRACE_BUFFER_SIZE];
volatile uint32_t traceIndex = 0;

/* USER CODE END Variables */

/* USER CODE BEGIN FunctionPrototypes */
static uint32_t TraceTimeUs(void);

/* USER CODE END FunctionPrototypes */

/* USER CODE BEGIN Application */
static uint32_t TraceTimeUs(void)
{
  return DWT->CYCCNT / (SystemCoreClock / 1000000U);
}

void TraceTaskSwitchedIn(void *task)
{
  uint32_t i = traceIndex & (TRACE_BUFFER_SIZE - 1U);
  traceBuffer[i].timeUs = TraceTimeUs();
  traceBuffer[i].task = (uint32_t)(uintptr_t)task;
  traceBuffer[i].event = 1U;
  traceIndex++;
}

void TraceTaskSwitchedOut(void *task)
{
  uint32_t i = traceIndex & (TRACE_BUFFER_SIZE - 1U);
  traceBuffer[i].timeUs = TraceTimeUs();
  traceBuffer[i].task = (uint32_t)(uintptr_t)task;
  traceBuffer[i].event = 0U;
  traceIndex++;
}

/* USER CODE END Application */
